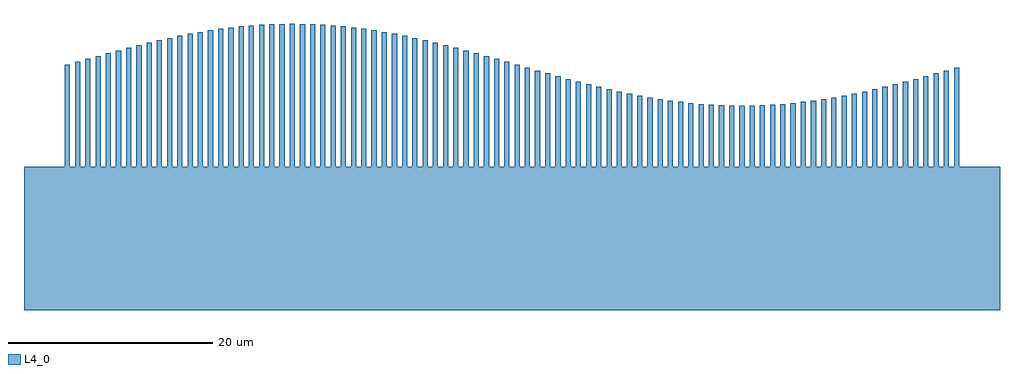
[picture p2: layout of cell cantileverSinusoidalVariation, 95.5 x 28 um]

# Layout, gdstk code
import gdstk
lib = gdstk.Library(unit=1e-6, precision=1e-09)
def R(c, l, rs):  # rectangles x0, y0, x1, y1
    for r in rs: c.add(gdstk.rectangle(r[:2], r[2:], *l))
L4_0 = (4, 0)

cantileversinusoidalvari = lib.new_cell('cantileverSinusoidalVariation')
R(cantileversinusoidalvari, L4_0, [(0,0,95.5,14), (4,14,4.5,24), (5,14,5.5,24.285), (6,14,6.5,24.569), (7,14,7.5,24.85), (8,14,8.5,25.127), (9,14,9.5,25.398), (10,14,10.5,25.662), (11,14,11.5,25.917), (12,14,12.5,26.163), (13,14,13.5,26.397), (14,14,14.5,26.619), (15,14,15.5,26.828), (16,14,16.5,27.023), (17,14,17.5,27.202), (18,14,18.5,27.365), (19,14,19.5,27.511), (20,14,20.5,27.639), (21,14,21.5,27.748), (22,14,22.5,27.838), (23,14,23.5,27.909), (24,14,24.5,27.959), (25,14,25.5,27.99), (26,14,26.5,28), (27,14,27.5,27.99), (28,14,28.5,27.959), (29,14,29.5,27.909), (30,14,30.5,27.838), (31,14,31.5,27.748), (32,14,32.5,27.639), (33,14,33.5,27.511), (34,14,34.5,27.365), (35,14,35.5,27.202), (36,14,36.5,27.023), (37,14,37.5,26.828), (38,14,38.5,26.619), (39,14,39.5,26.397), (40,14,40.5,26.163), (41,14,41.5,25.917), (42,14,42.5,25.662), (43,14,43.5,25.398), (44,14,44.5,25.127), (45,14,45.5,24.85), (46,14,46.5,24.569), (47,14,47.5,24.285), (48,14,48.5,24), (49,14,49.5,23.715), (50,14,50.5,23.431), (51,14,51.5,23.15), (52,14,52.5,22.873), (53,14,53.5,22.602), (54,14,54.5,22.338), (55,14,55.5,22.083), (56,14,56.5,21.837), (57,14,57.5,21.603), (58,14,58.5,21.381), (59,14,59.5,21.172), (60,14,60.5,20.977), (61,14,61.5,20.798), (62,14,62.5,20.635), (63,14,63.5,20.489), (64,14,64.5,20.361), (65,14,65.5,20.252), (66,14,66.5,20.162), (67,14,67.5,20.091), (68,14,68.5,20.041), (69,14,69.5,20.01), (70,14,70.5,20), (71,14,71.5,20.01), (72,14,72.5,20.041), (73,14,73.5,20.091), (74,14,74.5,20.162), (75,14,75.5,20.252), (76,14,76.5,20.361), (77,14,77.5,20.489), (78,14,78.5,20.635), (79,14,79.5,20.798), (80,14,80.5,20.977), (81,14,81.5,21.172), (82,14,82.5,21.381), (83,14,83.5,21.603), (84,14,84.5,21.837), (85,14,85.5,22.083), (86,14,86.5,22.338), (87,14,87.5,22.602), (88,14,88.5,22.873), (89,14,89.5,23.15), (90,14,90.5,23.431), (91,14,91.5,23.715)])

lib.write_gds('cantileverSinusoidalVariation.gds')
